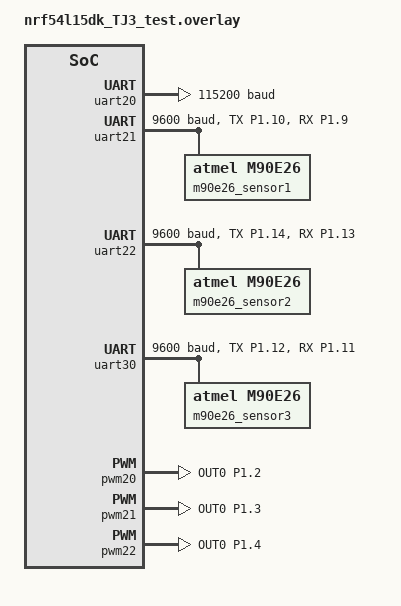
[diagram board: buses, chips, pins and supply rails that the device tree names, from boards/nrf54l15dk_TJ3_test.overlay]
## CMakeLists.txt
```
#-------------------------------------------------------------------------------
# Zephyr Example Application
#
# Copyright (c) 2021 Nordic Semiconductor ASA
# SPDX-License-Identifier: Apache-2.0

cmake_minimum_required(VERSION 3.21)

# STEP 8.1 Add external module
list(APPEND EXTRA_ZEPHYR_MODULES
  ${CMAKE_CURRENT_SOURCE_DIR}/../m90e26_module
)

find_package(Zephyr REQUIRED HINTS $ENV{ZEPHYR_BASE})

project(app LANGUAGES C)

target_sources(app PRIVATE src/main.c src/gpio-pwm.c src/nus_module.c src/hmi_uart.c)
```

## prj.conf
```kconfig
# Copyright (c) 2021 Nordic Semiconductor ASA
# SPDX-License-Identifier: Apache-2.0

# Enable required Zephyr driver classes
CONFIG_SENSOR=y

# Enable options required by M90E26
CONFIG_M90E26=y

CONFIG_SERIAL=y
# 啟用 Zephyr 標準的 Sensor API
CONFIG_SENSOR=y
CONFIG_UART_ASYNC_API=y
CONFIG_UART_USE_RUNTIME_CONFIGURE=y

# 啟用日誌以方便除錯
CONFIG_LOG=y
CONFIG_SENSOR_LOG_LEVEL_DBG=y
CONFIG_LOG_DEFAULT_LEVEL=3
CONFIG_LOG_BUFFER_SIZE=10240

# 啟用 GPIO API
CONFIG_GPIO=y

CONFIG_NFCT_PINS_AS_GPIOS=y

CONFIG_BT=y
CONFIG_BT_PERIPHERAL=y
CONFIG_BT_ZEPHYR_NUS=y
CONFIG_BT_CTLR_TX_PWR_PLUS_4=y
CONFIG_BT_DEVICE_NAME="TJ3"

CONFIG_HW_ID_LIBRARY=y
CONFIG_HW_ID_LIBRARY_SOURCE_DEVICE_ID=y
```

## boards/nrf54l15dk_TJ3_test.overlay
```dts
/*
1. PWM 1Hz duty 50%
	P1.02
	P1.03
	P1.04

2.  M90E26
	RX: P1.09, TX: P1.10
    RX: P1.11, TX: P1.12
    RX: P1.13, TX: P1.14

3. Console
	TX: P0.04
	RX: P0.02

	在debug message中請將3組DSP所讀到的值，依序列出
*/
/* my_app.overlay */

&button0 {
    status = "disabled";
};

&button1 {
    status = "disabled";
};

&button2 {
    status = "disabled";
};

&button3 {
    status = "disabled";
};
&led1 {
	status = "disabled";
};
&led2 {
	status = "disabled";
};
&led3 {
	status = "disabled";
};


&uart20 {
    status = "okay";
    current-speed = <115200>;
};

&uart21 {
    status = "okay";
    pinctrl-0 = <&uart21_default>;
    pinctrl-names = "default";
    current-speed = <9600>;
    m90e26_sensor1: m90e26_1 {
        compatible = "atmel,m90e26";
        status = "okay";
    };
};

&uart22 {
    status = "okay";
    pinctrl-0 = <&uart22_default>;
    pinctrl-names = "default";
    current-speed = <9600>;
    m90e26_sensor2: m90e26_2 {
        compatible = "atmel,m90e26";
        status = "okay";
    };
};

&uart30 {
    status = "okay";
    current-speed = <9600>;
	pinctrl-0 = <&uart30_default>;
    pinctrl-1 = <&uart30_sleep>;
	pinctrl-names = "default", "sleep";
	m90e26_sensor3: m90e26_3 {
        compatible = "atmel,m90e26";
        status = "okay";
    };
};

&pwm20 {
	status = "okay";
	pinctrl-0 = <&pwm20_default>;
	pinctrl-1 = <&pwm20_sleep>;
	pinctrl-names = "default", "sleep";
};

&pwm21 {
	status = "okay";
	pinctrl-0 = <&pwm21_default>;
	pinctrl-1 = <&pwm21_sleep>;
	pinctrl-names = "default", "sleep";
};

&pwm22 {
	status = "okay";
	pinctrl-0 = <&pwm22_default>;
	pinctrl-1 = <&pwm22_sleep>;
	pinctrl-names = "default", "sleep";
};

&pinctrl {
	/omit-if-no-ref/ uart20_default: uart20_default {
		group1 {
			psels = <NRF_PSEL(UART_TX, 0, 4)>, <NRF_PSEL(UART_RX, 0, 2)>;
		};
	};

	/omit-if-no-ref/ uart20_sleep: uart20_sleep {
		group1 {
			psels = <NRF_PSEL(UART_TX, 0, 4)>,
				<NRF_PSEL(UART_RX, 0, 2)>;
			low-power-enable;
		};
	};

    /omit-if-no-ref/ uart21_default: uart21_default {
		group1 {
			psels = <NRF_PSEL(UART_TX, 1, 10)>;
			nordic,drive-mode = <NRF_DRIVE_H0H1>;
		};
		group2 {
			psels = <NRF_PSEL(UART_RX, 1, 9)>;
			bias-pull-up;
			nordic,drive-mode = <NRF_DRIVE_H0H1>;
		};
	};

	/omit-if-no-ref/ uart21_sleep: uart21_sleep {
		group1 {
			psels = <NRF_PSEL(UART_TX, 1, 10)>,
				<NRF_PSEL(UART_RX, 1, 9)>;
			low-power-enable;
		};
	};

	/omit-if-no-ref/ uart22_default: uart22_default {
		group1 {
			psels = <NRF_PSEL(UART_TX, 1, 14)>;
			nordic,drive-mode = <NRF_DRIVE_H0H1>;
		};
		group2 {
			psels = <NRF_PSEL(UART_RX, 1, 13)>;
			bias-pull-up;
			nordic,drive-mode = <NRF_DRIVE_H0H1>;
		};
	};

	/omit-if-no-ref/ uart22_sleep: uart22_sleep {
		group1 {
			psels = <NRF_PSEL(UART_TX, 1, 14)>,
				<NRF_PSEL(UART_RX, 1, 13)>;
			low-power-enable;
		};
	};

	/omit-if-no-ref/ uart30_default: uart30_default {
		group1 {
			psels = <NRF_PSEL(UART_TX, 1, 12)>, 
			<NRF_PSEL(UART_RX, 1, 11)>;
			nordic,drive-mode = <NRF_DRIVE_H0H1>;
		};
	};

	/omit-if-no-ref/ uart30_sleep: uart30_sleep {
		group1 {
			psels = <NRF_PSEL(UART_TX, 1, 12)>,
				<NRF_PSEL(UART_RX, 1, 11)>;
			low-power-enable;
		};
	};

	/omit-if-no-ref/ pwm20_default: pwm20_default {
		group1 {
			psels = <NRF_PSEL(PWM_OUT0, 1, 2)>;
		};
	};

	/omit-if-no-ref/ pwm20_sleep: pwm20_sleep {
		group1 {
			psels = <NRF_PSEL(PWM_OUT0, 1, 2)>;
			low-power-enable;
		};
	};

	/omit-if-no-ref/ pwm21_default: pwm21_default {
		group1 {
			psels = <NRF_PSEL(PWM_OUT0, 1, 3)>;
		};
	};

	/omit-if-no-ref/ pwm21_sleep: pwm21_sleep {
		group1 {
			psels = <NRF_PSEL(PWM_OUT0, 1, 3)>;
			low-power-enable;
		};
	};

	/omit-if-no-ref/ pwm22_default: pwm22_default {
		group1 {
			psels = <NRF_PSEL(PWM_OUT0, 1, 4)>;
		};
	};

	/omit-if-no-ref/ pwm22_sleep: pwm22_sleep {
		group1 {
			psels = <NRF_PSEL(PWM_OUT0, 1, 4)>;
			low-power-enable;
		};
	};
};
```

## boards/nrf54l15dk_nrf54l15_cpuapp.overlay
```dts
/*
1.  更正P2.06, P2.07, P2.08, P2.09 , P2.10, P0.04 >> PWM OUT 1 Hz, dutycycle 50%
2.  P1.09  MCU_RX1/P1.10 MCU_TX1 (讀取M90E26) 
    P1.11  MCU_RX2/P1.12 MCU_TX2(讀取M90E26)
    P1.13  MCU_RX3/P1.14 MCU_TX3(讀取M90E26)
3. P0.01: Console UART RXD0 , P0.00:Console UART TXD0
*/


/ {
	chosen {
		zephyr,console = &uart30;
		zephyr,shell-uart = &uart30;
		zephyr,uart-mcumgr = &uart30;
		zephyr,bt-mon-uart = &uart30;
		zephyr,bt-c2h-uart = &uart30;
		zephyr,flash-controller = &rram_controller;
		zephyr,flash = &cpuapp_rram;
		zephyr,ieee802154 = &ieee802154;
	};

	leds {
		compatible = "gpio-leds";
		led0: led_0 {
			gpios = <&gpio2 9 GPIO_ACTIVE_HIGH>;
			label = "Green LED 0";
			status = "disabled";
		};
		led1: led_1 {
			gpios = <&gpio1 10 GPIO_ACTIVE_HIGH>;
			label = "Green LED 1";
			status = "disabled";
		};
		led2: led_2 {
			gpios = <&gpio2 7 GPIO_ACTIVE_HIGH>;
			label = "Green LED 2";
			status = "disabled";
		};
		led3: led_3 {
			gpios = <&gpio1 14 GPIO_ACTIVE_HIGH>;
			label = "Green LED 3";
			status = "disabled";
		};
		status = "disabled";
	};

	pwmleds {
		compatible = "pwm-leds";
		/*
		 * PWM signal can be exposed on GPIO pin only within same domain.
		 * There is only one domain which contains both PWM and GPIO:
		 * PWM20/21/22 and GPIO Port P1.
		 * Only LEDs connected to P1 can work with PWM, for example LED1.
		 */
		status = "disabled";
		pwm_led1: pwm_led_1 {
			pwms = <&pwm20 0 PWM_MSEC(20) PWM_POLARITY_NORMAL>;
			status = "disabled";
		};
	};
};

&uart20 {
    status = "okay";
    pinctrl-0 = <&uart20_custom>;
    current-speed = <9600>;
    m90e26_sensor_a: m90e26a {
        compatible = "atmel,m90e26";
        status = "okay";
    };
};

&uart30 {
    status = "okay";
    current-speed = <115200>;
};

&uart21 {
    status = "okay";
    pinctrl-0 = <&uart21_default>;
    pinctrl-names = "default";
    current-speed = <9600>;
    m90e26_sensor_b: m90e26 {
        compatible = "atmel,m90e26";
        status = "okay";
    };
};

&uart22 {
    status = "okay";
    pinctrl-0 = <&uart22_default>;
    pinctrl-names = "default";
    current-speed = <9600>;
    m90e26_sensor_c: m90e26b {
        compatible = "atmel,m90e26";
        status = "okay";
    };
};

&uart00 {
    status = "okay";
    pinctrl-0 = <&uart00_custom>;
    pinctrl-names = "default";
    current-speed = <115200>;
};

&pinctrl {

    /omit-if-no-ref/ uart20_custom: uart20_custom {
		group1 {
			psels = <NRF_PSEL(UART_TX, 1, 10)>,
				<NRF_PSEL(UART_RX, 1, 9)>;
			nordic,drive-mode = <NRF_DRIVE_H0H1>;
		};
	};

	/omit-if-no-ref/ uart20_sleep: uart20_sleep {
		group1 {
			psels = <NRF_PSEL(UART_TX, 1, 10)>,
				<NRF_PSEL(UART_RX, 1, 9)>;
			low-power-enable;
		};
	};

    /omit-if-no-ref/ uart21_default: uart21_default {
		group1 {
			psels = <NRF_PSEL(UART_TX, 1, 12)>,
				<NRF_PSEL(UART_RX, 1, 11)>;
			nordic,drive-mode = <NRF_DRIVE_H0H1>;
		};
	};

	/omit-if-no-ref/ uart21_sleep: uart21_sleep {
		group1 {
			psels = <NRF_PSEL(UART_TX, 1, 14)>,
				<NRF_PSEL(UART_RX, 1, 13)>;
			low-power-enable;
		};
	};

    /omit-if-no-ref/ uart22_default: uart22_default {
		group1 {
			psels = <NRF_PSEL(UART_TX, 1, 14)>,
				<NRF_PSEL(UART_RX, 1, 13)>;
			nordic,drive-mode = <NRF_DRIVE_H0H1>;
		};
	};

	/omit-if-no-ref/ uart22_sleep: uart22_sleep {
		group1 {
			psels = <NRF_PSEL(UART_TX, 1, 14)>,
				<NRF_PSEL(UART_RX, 1, 13)>;
			low-power-enable;
		};
	};

	/omit-if-no-ref/ uart30_default: uart30_default {
		group1 {
			psels = <NRF_PSEL(UART_TX, 0, 0)>,
				<NRF_PSEL(UART_RX, 0, 1)>;
			nordic,drive-mode = <NRF_DRIVE_H0H1>;
		};
	};

	/omit-if-no-ref/ uart30_sleep: uart30_sleep {
		group1 {
			psels = <NRF_PSEL(UART_TX, 0, 0)>,
				<NRF_PSEL(UART_RX, 0, 1)>;
			low-power-enable;
		};
	};

	/omit-if-no-ref/ uart00_custom: uart00_custom {
		group1 {
			psels = <NRF_PSEL(UART_TX, 2, 8)>,
				<NRF_PSEL(UART_RX, 2, 7)>;
			nordic,drive-mode = <NRF_DRIVE_H0H1>;
		};
	};

	/omit-if-no-ref/ uart00_sleep: uart00_sleep {
		group1 {
			psels = <NRF_PSEL(UART_TX, 2, 8)>,
				<NRF_PSEL(UART_RX, 2, 7)>;
			low-power-enable;
		};
	};
	
};

/ {
    aliases {
        gpiopwm0 = &my_output_pin0;
        gpiopwm2 = &my_output_pin2;
		gpiopwm3 = &my_output_pin3;
		gpiopwm4 = &my_output_pin4;
		gpiopwm5 = &my_output_pin5;
		uart00 = &uart00;
    };

    leds {
        compatible = "gpio-leds";
        my_output_pin0: my_output_pin0 {
            gpios = <&gpio2 5 GPIO_ACTIVE_HIGH>;
            label = "My 1Hz Output Pin0";
        };

        my_output_pin2: my_output_pin2 {
            gpios = <&gpio2 6 GPIO_ACTIVE_HIGH>;
            label = "My 1Hz Output Pin2";
        };

		my_output_pin3: my_output_pin3 {
            gpios = <&gpio2 9 GPIO_ACTIVE_HIGH>;
            label = "My 1Hz Output Pin3";
        };

		my_output_pin4: my_output_pin4 {
            gpios = <&gpio2 10 GPIO_ACTIVE_HIGH>;
            label = "My 1Hz Output Pin4";
        };

		my_output_pin5: my_output_pin5 {
            gpios = <&gpio0 4 GPIO_ACTIVE_HIGH>;
            label = "My 1Hz Output Pin5";
        };
    };
};

//P2.06, P2.07, P2.08, P2.09 , P2.10, P0.04 >> PWM OUT 1 Hz, dutycycle 50%
```

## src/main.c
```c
#include <zephyr/kernel.h>
#include <zephyr/device.h>
#include <zephyr/drivers/sensor.h>
#include <zephyr/drivers/uart.h>
#include <zephyr/logging/log.h>
#include <hw_id.h>
#include <stdio.h>
#include <string.h>
#include "gpio-pwm.h"
#include "m90e26.h" // 引入 M90E26 的標頭檔
#include "nus_module.h"
#include "hmi_uart.h"

LOG_MODULE_REGISTER(main, LOG_LEVEL_INF);
static const struct device *energy_sensora = DEVICE_DT_GET(DT_NODELABEL(m90e26_sensor_a));
static const struct device *energy_sensorb = DEVICE_DT_GET(DT_NODELABEL(m90e26_sensor_b));
static const struct device *energy_sensorc = DEVICE_DT_GET(DT_NODELABEL(m90e26_sensor_c));
#if DT_HAS_ALIAS(uart00) //在這邊使用實際Device Tree所定義的別名
#define HMI_UART_NODE00 DT_ALIAS(uart00)
#else
#error "請在設備樹中定義 uart30 別名！"
#endif

//宣告 HMI UART 實例的數據結構和消息隊列
K_MSGQ_DEFINE(my_uart_rx_msgq1, HMI_UART_RX_MSG_SIZE, 5, 4); // 為此實例定義自己的消息佇列
struct hmi_uart_data my_uart_instance_data1 = {.dev = DEVICE_DT_GET(HMI_UART_NODE00), .rx_msgq = &my_uart_rx_msgq1};

int main(void)
{
    char sensor_msg[3][128] = {0};
    char hw_id[HW_ID_LEN] = "";
    int ret = 0;

    ret = hw_id_get(hw_id, (size_t)HW_ID_LEN);
    if(ret != 0)
    {
        LOG_ERR("Get HW_ID failed\n");
    }
    LOG_INF("Device ID: %s", hw_id);

    if (!device_is_ready(energy_sensora)) {
        LOG_ERR("Energy sensor device not ready\n");
        //return -1;
    }

    if (!device_is_ready(energy_sensorb)) {
        LOG_ERR("Energy sensor device not ready\n");
        //return -1;
    }

    if (!device_is_ready(energy_sensorc)) {
        LOG_ERR("Energy sensor device not ready\n");
        //return -1;
    }

    ret = gpio_pwm_start();
	if (ret != 0) {
		LOG_ERR("Failed to start GPIO PWM module (err: %d)", ret);
		return 0;
	}

    ret = nus_module_init();
    if (ret != 0) {
		LOG_ERR("Failed to start NUS loopback module (err: %d)", ret);
		return 0;
	}

    // 初始化 HMI UART 實例，傳遞設備指針、波特率、實例數據和消息佇列
    ret = hmi_uart_init_instance(&my_uart_instance_data1, 115200);
    if (ret != 0) {
        LOG_ERR("HMI UART:%s 實例初始化失敗，錯誤碼: %d", my_uart_instance_data1.dev->name, ret);
        return 1;
    }

    while (1) {
        struct sensor_value voltage, current, power, pf;

        if (sensor_sample_fetch(energy_sensora) < 0) {
            LOG_ERR("Failed to fetch sample 1\n");
            //return -1;
        }

        if (sensor_sample_fetch(energy_sensorb) < 0) {
            LOG_ERR("Failed to fetch sample 2\n");
            //return -1;
        }

        if (sensor_sample_fetch(energy_sensorc) < 0) {
            LOG_ERR("Failed to fetch sample 3\n");
            //return -1;
        }

        sensor_channel_get(energy_sensora, SENSOR_CHAN_VOLTAGE, &voltage);
        sensor_channel_get(energy_sensora, SENSOR_CHAN_CURRENT, &current);
        sensor_channel_get(energy_sensora, SENSOR_CHAN_M90E26_ACTIVE_POWER, &power);
        sensor_channel_get(energy_sensora, SENSOR_CHAN_M90E26_POWER_FACTOR, &pf);

        LOG_INF("Sensor1 | V: %d.%06d V, I: %d.%06d A, P: %d.%06d W, PF: %d.%06d\n",
               voltage.val1, voltage.val2,
               current.val1, current.val2,
               power.val1, power.val2,
               pf.val1, pf.val2);
        snprintf(sensor_msg[0], 128, "%s: Sensor1 | V: %d.%06d V, I: %d.%06d A, P: %d.%06d W, PF: %d.%06d\r\n",
               hw_id,
               voltage.val1, voltage.val2,
               current.val1, current.val2,
               power.val1, power.val2,
               pf.val1, pf.val2);
        LOG_INF("Send by uart 0: %s", sensor_msg[0]);
        do{
            ret = hmi_uart_send(my_uart_instance_data1.dev, sensor_msg[0], strlen(sensor_msg[0]));
        }while(ret == -EBUSY);
        if(ret != 0)
        {
            LOG_ERR("Failed to send sensor1 value to 9151\n");
        }
/*==================================================================================================*/
        sensor_channel_get(energy_sensorb, SENSOR_CHAN_VOLTAGE, &voltage);
        sensor_channel_get(energy_sensorb, SENSOR_CHAN_CURRENT, &current);
        sensor_channel_get(energy_sensorb, SENSOR_CHAN_M90E26_ACTIVE_POWER, &power);
        sensor_channel_get(energy_sensorb, SENSOR_CHAN_M90E26_POWER_FACTOR, &pf);

        LOG_INF("Sensor2 | V: %d.%06d V, I: %d.%06d A, P: %d.%06d W, PF: %d.%06d\n",
               voltage.val1, voltage.val2,
               current.val1, current.val2,
               power.val1, power.val2,
               pf.val1, pf.val2);
        snprintf(sensor_msg[1], 128, "%s: Sensor2 | V: %d.%06d V, I: %d.%06d A, P: %d.%06d W, PF: %d.%06d\r\n",
               hw_id,
               voltage.val1, voltage.val2,
               current.val1, current.val2,
               power.val1, power.val2,
               pf.val1, pf.val2);
        LOG_INF("Send by uart 1: %s", sensor_msg[1]);
        do{
            ret = hmi_uart_send(my_uart_instance_data1.dev, sensor_msg[1], strlen(sensor_msg[1]));
        }while(ret == -EBUSY);
        if(ret != 0)
        {
            LOG_ERR("Failed to send sensor2 value to 9151\n");
        }
/*==================================================================================================*/
        sensor_channel_get(energy_sensorc, SENSOR_CHAN_VOLTAGE, &voltage);
        sensor_channel_get(energy_sensorc, SENSOR_CHAN_CURRENT, &current);
        sensor_channel_get(energy_sensorc, SENSOR_CHAN_M90E26_ACTIVE_POWER, &power);
        sensor_channel_get(energy_sensorc, SENSOR_CHAN_M90E26_POWER_FACTOR, &pf);

        LOG_INF("Sensor3 | V: %d.%06d V, I: %d.%06d A, P: %d.%06d W, PF: %d.%06d\n",
               voltage.val1, voltage.val2,
               current.val1, current.val2,
               power.val1, power.val2,
               pf.val1, pf.val2);
        snprintf(sensor_msg[2], 128, "%s: Sensor3 | V: %d.%06d V, I: %d.%06d A, P: %d.%06d W, PF: %d.%06d\r\n",
               hw_id,
               voltage.val1, voltage.val2,
               current.val1, current.val2,
               power.val1, power.val2,
               pf.val1, pf.val2);
        LOG_INF("Send by uart 2: %s", sensor_msg[2]);
        do{
            ret = hmi_uart_send(my_uart_instance_data1.dev, sensor_msg[2], strlen(sensor_msg[2]));
        }while(ret == -EBUSY);
        if(ret != 0)
        {
            LOG_ERR("Failed to send sensor3 value to 9151\n");
        }
        k_sleep(K_SECONDS(1));
    }
}
```

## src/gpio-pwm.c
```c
#include "gpio-pwm.h"
#include <zephyr/kernel.h>
#include <zephyr/drivers/gpio.h>
#include <zephyr/logging/log.h>

LOG_MODULE_REGISTER(gpio_pwm, LOG_LEVEL_DBG);

// 1Hz = 1000ms 週期
// 50% Duty = 500ms ON, 500ms OFF
#define SLEEP_TIME_MS 500

/*
 * 取得 'led0' alias 的 GPIO 規格
 * 這必須在 app.overlay 中定義
 */
#define LED_NODE DT_ALIAS(gpiopwm0)
#define LED_NODE2 DT_ALIAS(gpiopwm2)
#define LED_NODE3 DT_ALIAS(gpiopwm3)
#define LED_NODE4 DT_ALIAS(gpiopwm4)
#define LED_NODE5 DT_ALIAS(gpiopwm5)



#if !DT_NODE_HAS_STATUS(LED_NODE, okay)
#error "Unsupported board: led0 devicetree alias is not defined"
#endif

#define LED_NUM	(5)

// 宣告 GPIO 規格結構體
static const struct gpio_dt_spec leds[] = { GPIO_DT_SPEC_GET(LED_NODE, gpios)
	, GPIO_DT_SPEC_GET(LED_NODE2, gpios)
	, GPIO_DT_SPEC_GET(LED_NODE3, gpios)
	, GPIO_DT_SPEC_GET(LED_NODE4, gpios)
	, GPIO_DT_SPEC_GET(LED_NODE5, gpios)};

/*
 * 定義我們專門用來閃燈的執行緒
 */
#define GPIO_PWM_THREAD_STACK_SIZE 512
#define GPIO_PWM_THREAD_PRIORITY 5

// 宣告執行緒的堆疊 (stack) 空間
K_THREAD_STACK_DEFINE(g_gpio_pwm_thread_stack, GPIO_PWM_THREAD_STACK_SIZE);
// 宣告執行緒的控制區塊
static struct k_thread g_gpio_pwm_thread;


/**
 * @brief GPIO PWM 執行緒的進入點 (entry point)
 *
 * 這個函式會在新建立的執行緒中執行，
 * 它只做一件事：在無限迴圈中翻轉 GPIO 並睡眠。
 */
static void gpio_pwm_thread_entry(void *p1, void *p2, void *p3)
{
	int ret;
	
	LOG_INF("GPIO PWM thread started");

	// 無限迴圈
	while (1) {
		// 翻轉 (Toggle) GPIO 腳位的狀態
		for(int i = 0; i < LED_NUM; i++)
		{
			ret = gpio_pin_toggle_dt(&leds[i]);
			if (ret < 0) {
				LOG_ERR("Error: Failed to toggle %s pin %d (err: %d)", 
						leds[i].port->name, leds[i].pin, ret);
				// 即使出錯，我們也繼續嘗試
			}
		}
		// 讓當前執行緒睡眠 500ms
		k_msleep(SLEEP_TIME_MS);
	}
}

/**
 * @brief 啟動軟體 GPIO PWM (gpio-pwm.h 中的函式實作)
 */
int gpio_pwm_start(void)
{
	int ret;
	for(int i = 0; i < LED_NUM; i++)
	{
		// 1. 檢查 GPIO 設備是否準備就緒
		if (!gpio_is_ready_dt(&leds[i])) {
			LOG_ERR("Error: GPIO device %s is not ready", leds[i].port->name);
			return -ENODEV;
		}

		// 2. 將 GPIO 腳位設定為輸出 (Output)
		ret = gpio_pin_configure_dt(&leds[i], GPIO_OUTPUT_ACTIVE);
		if (ret < 0) {
			LOG_ERR("Error: Failed to configure %s pin %d (err: %d)", 
					leds[i].port->name, leds[i].pin, ret);
			return -EIO;
		}

		LOG_INF("GPIO PWM module started on %s pin %d", leds[i].port->name, leds[i].pin);
	}

	// 3. 建立並啟動執行緒
	k_thread_create(&g_gpio_pwm_thread, g_gpio_pwm_thread_stack,
			K_THREAD_STACK_SIZEOF(g_gpio_pwm_thread_stack),
			gpio_pwm_thread_entry, // 執行緒函式
			NULL, NULL, NULL,        // 參數 (未使用)
			GPIO_PWM_THREAD_PRIORITY, // 優先權
			0, K_NO_WAIT);           // 選項 & 延遲
	
	return 0;
}
```

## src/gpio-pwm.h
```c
#ifndef GPIO_PWM_H__
#define GPIO_PWM_H__

/**
 * @brief 啟動軟體 GPIO PWM
 *
 * 初始化一個 GPIO 腳位 (透過 'led0' alias) 並建立一個
 * 專門的執行緒來以 1Hz (50% duty cycle) 翻轉它。
 *
 * @retval 0 成功
 * @retval -EIO GPIO 相關錯誤
 * @retval -ENODEV 找不到 GPIO 設備
 */
int gpio_pwm_start(void);

#endif // GPIO_PWM_H__
```

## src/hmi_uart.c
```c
#include "hmi_uart.h"
#include <string.h>

// 註冊日誌模組
LOG_MODULE_REGISTER(hmi_uart_module, LOG_LEVEL_DBG);

// 靜態函數聲明
static void hmi_uart_callback_internal(const struct device *dev, struct uart_event *evt, void *user_data);

// 內部 UART 回調函數
// 這個回調函數將處理所有由 Zephyr UART 驅動發出的事件，並將其分發到正確的 hmi_uart_data 實例。
static void hmi_uart_callback_internal(const struct device *dev, struct uart_event *evt, void *user_data)
{
    struct hmi_uart_data *data = (struct hmi_uart_data *)user_data;

    if (data == NULL) {
        LOG_ERR("UART callback received NULL user_data for %s!", dev->name);
        return;
    }

    switch (evt->type) {
        case UART_RX_RDY: {
            //接收完成的事件，在這邊處理接收資料以及傳送msgq到Application的邏輯
            //LOG_INF("%s: UART_RX_RDY:%X,%u", dev->name, data->rx_buf[data->rx_buf_pos], data->rx_buf_pos);
            if (data->rx_buf[data->rx_buf_pos] == '\n' || data->rx_buf[data->rx_buf_pos] == '\r')
            {
                data->rx_buf[data->rx_buf_pos + 1] = '\0';
                if (k_msgq_put(data->rx_msgq, data->rx_buf, K_NO_WAIT) != 0) {
                    LOG_WRN("%s: Failed to put message in RX queue (full?).", data->dev->name);
                }
                data->rx_buf_pos = 0;
                //LOG_INF("%s: UART_RX_RDY:Get newline or return:%s", dev->name, data->rx_buf);
                break;
            }
            data->rx_buf_pos++;
            if(data->rx_buf_pos > HMI_UART_RX_MSG_SIZE - 2)
            {
                data->rx_buf[data->rx_buf_pos] = '\0'; 
                if (k_msgq_put(data->rx_msgq, data->rx_buf, K_NO_WAIT) != 0) {
                    LOG_WRN("%s: Failed to put message in RX queue (full?).", data->dev->name);
                }
                data->rx_buf_pos = 0;
            }
            break;
        }
        case UART_RX_STOPPED: {
            //LOG_INF("%s: UART_RX_STOPPED", dev->name);
            break;
        }
        case UART_RX_BUF_REQUEST:
            // 驅動通常會自動請求下一個緩衝區，無需手動處理
            break;

        case UART_RX_BUF_RELEASED:
            // 緩衝區釋放事件，用於資源管理
            break;
        case UART_RX_DISABLED:
        {
            int ret = uart_rx_enable(dev, data->rx_buf + data->rx_buf_pos, 1, SYS_FOREVER_US);
            if (ret) {
                LOG_ERR("啟用 UART %s 接收失敗: %d", dev->name, ret);
            }
            //LOG_INF("%s: UART_RX_DISABLED", dev->name);
            break;
        }
        case UART_TX_DONE:
            // 傳輸完成事件。如果需要，可以在此處理 TX 完成的邏輯
            // 例如，釋放 TX 緩衝區或通知等待的線程
            LOG_INF("%s: UART_TX_DONE", dev->name);
            break;

        case UART_TX_ABORTED:
            //LOG_WRN("%s: UART_EVT_TX_ABORTED", dev->name);
            break;

        default:
            // 處理其他未知的 UART 事件
            break;
    }
}

int hmi_uart_init_instance(struct hmi_uart_data *instance_data, uint32_t baud_rate)
{
    const struct device *uart_dev = instance_data->dev;
    struct k_msgq *rx_msgq = instance_data->rx_msgq;
    struct uart_config uart_cfg = {
        .baudrate = baud_rate,
        .parity = UART_CFG_PARITY_NONE,
        .stop_bits = UART_CFG_STOP_BITS_1,
        .data_bits = UART_CFG_DATA_BITS_8,
        .flow_ctrl = UART_CFG_FLOW_CTRL_NONE
    };
    int ret;

    if (!device_is_ready(uart_dev)) {
        LOG_ERR("UART 設備 %s 未準備就緒！", uart_dev->name);
        return -ENODEV;
    }

    if (instance_data == NULL || rx_msgq == NULL) {
        LOG_ERR("hmi_uart_init_instance 接收到 NULL 指針！");
        return -EINVAL;
    }

    // 將外部提供的數據結構和消息佇列指針賦值給實例
    instance_data->dev = uart_dev;
    instance_data->rx_msgq = rx_msgq;
    instance_data->rx_buf_pos = 0;

    // 清除消息隊列，移除任何舊消息
    k_msgq_purge(instance_data->rx_msgq);

    ret = uart_configure(uart_dev, &uart_cfg);
    if (ret) {
        LOG_ERR("配置 UART 設備 %s 失敗: %d", uart_dev->name, ret);
        return ret;
    }

    // 設置回調函數，將實例數據指針作為 user_data 傳遞
    ret = uart_callback_set(uart_dev, hmi_uart_callback_internal, (void *)instance_data);
    if (ret) {
        LOG_ERR("設定 UART %s 回調失敗: %d", uart_dev->name, ret);
        return ret;
    }

    // 啟用接收，使用實例的接收緩衝區
    ret = uart_rx_enable(uart_dev, instance_data->rx_buf, 1, SYS_FOREVER_US);
    if (ret) {
        LOG_ERR("啟用 UART %s 接收失敗: %d", uart_dev->name, ret);
        return ret;
    }

    LOG_INF("HMI UART 模組 %s 初始化成功，波特率: %d", uart_dev->name, baud_rate);
    return 0;
}

int hmi_uart_send(const struct device *uart_dev, const uint8_t *data, size_t len)
{
    if (!device_is_ready(uart_dev)) {
        LOG_ERR("UART 設備 %s 未準備就緒，無法傳送！", uart_dev->name);
        return -ENODEV;
    }

    int ret = uart_tx(uart_dev, data, len, SYS_FOREVER_US);
    // if (ret < 0) {
    //     LOG_ERR("UART %s 寫入 FIFO 失敗: %d", uart_dev->name, ret);
    // }
    return ret; // 返回
}
```

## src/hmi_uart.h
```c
#ifndef HMI_UART_H__
#define HMI_UART_H__

#include <zephyr/kernel.h>
#include <zephyr/drivers/uart.h>
#include <zephyr/logging/log.h>

// UART 接收緩衝區大小
#define HMI_UART_RX_MSG_SIZE 64 // 每個接收消息的最大長度 (包含 null 終止符)

/**
 * @brief HMI UART 實例的數據結構。
 * 包含每個 UART 實例的運行時數據。
 */
struct hmi_uart_data {
    const struct device *dev;         // UART 設備指針
    uint8_t rx_buf[HMI_UART_RX_MSG_SIZE]; // 接收緩衝區
    size_t rx_buf_pos;                // 接收緩衝區當前位置
    struct k_msgq *rx_msgq;           // 綁定到此實例的接收消息隊列指針
};

/**
 * @brief 初始化 HMI UART 模組的特定實例。
 *
 * @param instance_data 指向 HMI UART 數據結構的指針，用於儲存實例的運行時數據。
 * @param baud_rate 要設置的 UART 波特率。
 * 此數據結構和其內部消息佇列應由外部調用者定義和管理。
 *
 * @return 回傳傳送成功或失敗，0為成功，負數 errno 表示失敗。
 */
int hmi_uart_init_instance(struct hmi_uart_data *instance_data, uint32_t baud_rate);

/**
 * @brief 向指定的 HMI UART 設備發送數據 (非阻塞)。
 *
 * @param uart_dev 指向要發送數據的 UART 設備的指針。
 * @param data 指向要發送數據的緩衝區的指針。
 * @param len 要發送的數據長度。
 *
 * @return 回傳傳送成功或失敗，0為成功，負數 errno 表示失敗。
 */
int hmi_uart_send(const struct device *uart_dev, const uint8_t *data, size_t len);

#endif // HMI_UART_H__
```

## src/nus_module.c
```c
/*
 * Copyright (c) 2024 Croxel, Inc.
 *
 * SPDX-License-Identifier: Apache-2.0
 */

#include <zephyr/kernel.h>
#include <zephyr/bluetooth/bluetooth.h>
#include <zephyr/bluetooth/services/nus.h>
#include <zephyr/logging/log.h>
#include "nus_module.h"

LOG_MODULE_REGISTER(nus_module, LOG_LEVEL_INF);
#define DEVICE_NAME		CONFIG_BT_DEVICE_NAME
#define DEVICE_NAME_LEN		(sizeof(DEVICE_NAME) - 1)
#define BT_LOOPBACK_THREAD_STACK_SIZE 2048
#define BT_LOOPBACK_THREAD_PRIORITY 5
#define MSGQ_MAX_LEN    (10)
// 宣告執行緒的堆疊 (stack) 空間
K_THREAD_STACK_DEFINE(g_bt_nus_loopback_thread_stack, BT_LOOPBACK_THREAD_STACK_SIZE);
// 宣告執行緒的控制區塊
static struct k_thread g_bt_nus_loopback_thread_thread;

struct k_msgq loopback_msgq;
uint8_t msgq_buf[CONFIG_BT_L2CAP_TX_MTU + 1];

static const struct bt_data ad[] = {
	BT_DATA_BYTES(BT_DATA_FLAGS, (BT_LE_AD_GENERAL | BT_LE_AD_NO_BREDR)),
	BT_DATA(BT_DATA_NAME_COMPLETE, DEVICE_NAME, DEVICE_NAME_LEN),
};

static const struct bt_data sd[] = {
	BT_DATA_BYTES(BT_DATA_UUID128_ALL, BT_UUID_NUS_SRV_VAL),
};

int nus_module_loopback(void);

static void notif_enabled(bool enabled, void *ctx)
{
	ARG_UNUSED(ctx);

	LOG_INF("%s() - %s\n", __func__, (enabled ? "Enabled" : "Disabled"));
}

static void received(struct bt_conn *conn, const void *data, uint16_t len, void *ctx)
{
	char message[CONFIG_BT_L2CAP_TX_MTU + 1] = "";

	ARG_UNUSED(conn);
	ARG_UNUSED(ctx);

	memcpy(message, data, MIN(sizeof(message) - 1, len));
	if (k_msgq_put(&loopback_msgq, message, K_NO_WAIT) != 0)
	{
		LOG_ERR("NUS data can't put into msgq");
	}
	LOG_INF("%s() - Len: %d, Message: %s\n", __func__, len, message);
}

struct bt_nus_cb nus_listener = {
	.notif_enabled = notif_enabled,
	.received = received,
};

int nus_module_init(void)
{
	int err;

	LOG_INF("Sample - Bluetooth Peripheral NUS\n");

	err = bt_nus_cb_register(&nus_listener, NULL);
	if (err) {
		LOG_ERR("Failed to register NUS callback: %d\n", err);
		return err;
	}

	err = bt_enable(NULL);
	if (err) {
		LOG_ERR("Failed to enable bluetooth: %d\n", err);
		return err;
	}

	err = bt_le_adv_start(BT_LE_ADV_CONN_FAST_1, ad, ARRAY_SIZE(ad), sd, ARRAY_SIZE(sd));
	if (err) {
		LOG_ERR("Failed to start advertising: %d\n", err);
		return err;
	}

    k_msgq_init(&loopback_msgq, msgq_buf, CONFIG_BT_L2CAP_TX_MTU + 1, MSGQ_MAX_LEN);
    k_thread_create(&g_bt_nus_loopback_thread_thread, g_bt_nus_loopback_thread_stack,
			K_THREAD_STACK_SIZEOF(g_bt_nus_loopback_thread_stack),
			nus_module_loopback, // 執行緒函式
			NULL, NULL, NULL,        // 參數 (未使用)
			BT_LOOPBACK_THREAD_PRIORITY, // 優先權
			0, K_NO_WAIT);           // 選項 & 延遲
	LOG_INF("Initialization complete\n");

	return 0;
}

int nus_module_loopback(void)
{
    while (true) {
		char local_buf[CONFIG_BT_L2CAP_TX_MTU + 1] = "";

		while (k_msgq_get(&loopback_msgq, (void *)local_buf, K_NO_WAIT) == 0)
        {
            int err = bt_nus_send(NULL, local_buf, MIN(strlen(local_buf), CONFIG_BT_L2CAP_TX_MTU));
		    LOG_INF("Data send - Result: %d\n", err);
            if (err < 0 && (err != -EAGAIN) && (err != -ENOTCONN)) {
			    LOG_ERR("BT loopback fail: %d", err);
		    }
        }
		k_sleep(K_MSEC(1));
	}
}
```

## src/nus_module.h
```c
#ifndef NUS_MODULE_H__
#define NUS_MODULE_H__
int nus_module_init(void);
 
#endif // NUS_MODULE_H__
```
